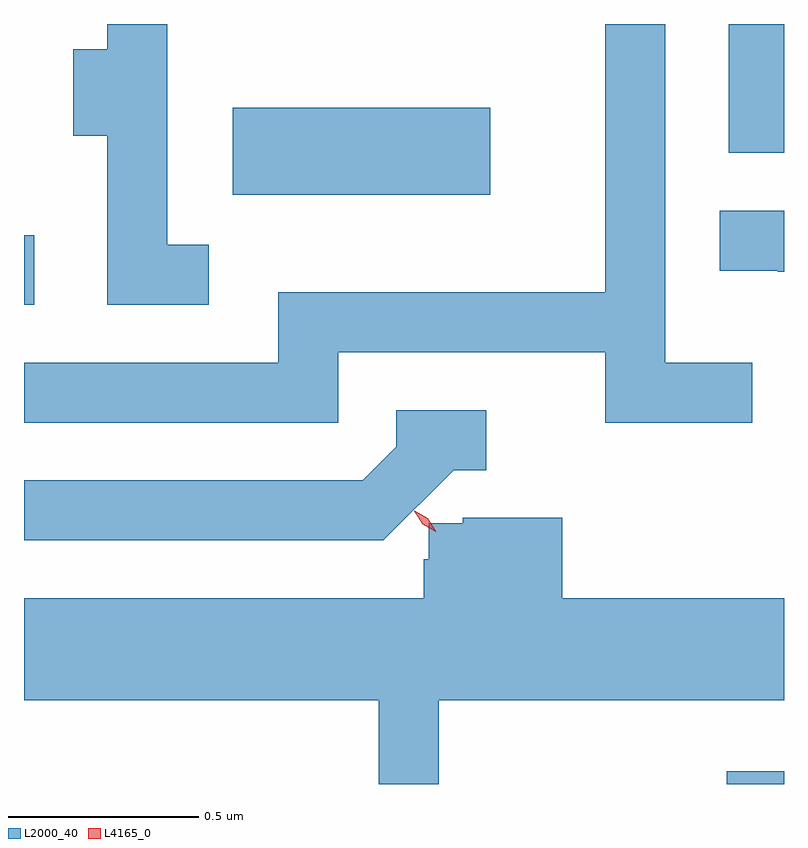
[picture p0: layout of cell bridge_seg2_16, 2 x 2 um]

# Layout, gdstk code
import gdstk
lib = gdstk.Library(unit=1e-6, precision=1e-09)
def R(c, l, rs):  # rectangles x0, y0, x1, y1
    for r in rs: c.add(gdstk.rectangle(r[:2], r[2:], *l))
def P(c, l, *ps):  # polygons
    for p in ps: c.add(gdstk.Polygon(p, *l))
L2000_40 = (2000, 40)
L4165_0 = (4165, 0)

bridge_seg2_16 = lib.new_cell('bridge_seg2_16')
R(bridge_seg2_16, L2000_40, [(1730.041,1092.495,1730.192,1092.528), (1728.192,1093.756,1728.219,1093.939), (1728.741,1094.046,1729.419,1094.274), (1730.046,1094.156,1730.192,1094.495)])
P(bridge_seg2_16, L2000_40, [(1729.019,1093.631),(1729.721,1093.631),(1729.721,1093.446),(1730.108,1093.446),(1730.108,1093.604),(1729.879,1093.604),(1729.879,1094.495),(1729.721,1094.495),(1729.721,1093.789),(1728.861,1093.789),(1728.861,1093.604),(1728.192,1093.604),(1728.192,1093.446),(1729.019,1093.446)],
  [(1728.678,1093.914),(1728.569,1093.914),(1728.569,1094.495),(1728.411,1094.495),(1728.411,1094.429),(1728.321,1094.429),(1728.321,1094.201),(1728.411,1094.201),(1728.411,1093.756),(1728.678,1093.756)],
  [(1730.192,1094.004),(1730.023,1094.004),(1730.023,1093.846),(1730.175,1093.846),(1730.175,1093.843),(1730.192,1093.843)],
  [(1729.323,1093.321),(1729.408,1093.321),(1729.408,1093.479),(1729.171,1093.479),(1729.171,1093.382),(1729.084,1093.294),(1728.192,1093.294),(1728.192,1093.136),(1729.138,1093.136)],
  [(1729.284,1092.716),(1730.192,1092.716),(1730.192,1092.984),(1729.609,1092.984),(1729.609,1093.196),(1729.347,1093.196),(1729.347,1093.181),(1729.257,1093.181),(1729.257,1093.087),(1729.244,1093.087),(1729.244,1092.984),(1728.192,1092.984),(1728.192,1092.716),(1729.126,1092.716),(1729.126,1092.495),(1729.284,1092.495)])
P(bridge_seg2_16, L4165_0, [(1729.276,1093.159),(1729.241,1093.179),(1729.219,1093.213),(1729.219,1093.214),(1729.22,1093.214),(1729.255,1093.194),(1729.277,1093.159),(1729.277,1093.159)],
  [(1729.272,1093.162),(1729.24,1093.18),(1729.22,1093.212),(1729.22,1093.212),(1729.221,1093.212),(1729.254,1093.194),(1729.273,1093.163),(1729.273,1093.162)])

lib.write_gds('bridge_seg2_16.gds')
